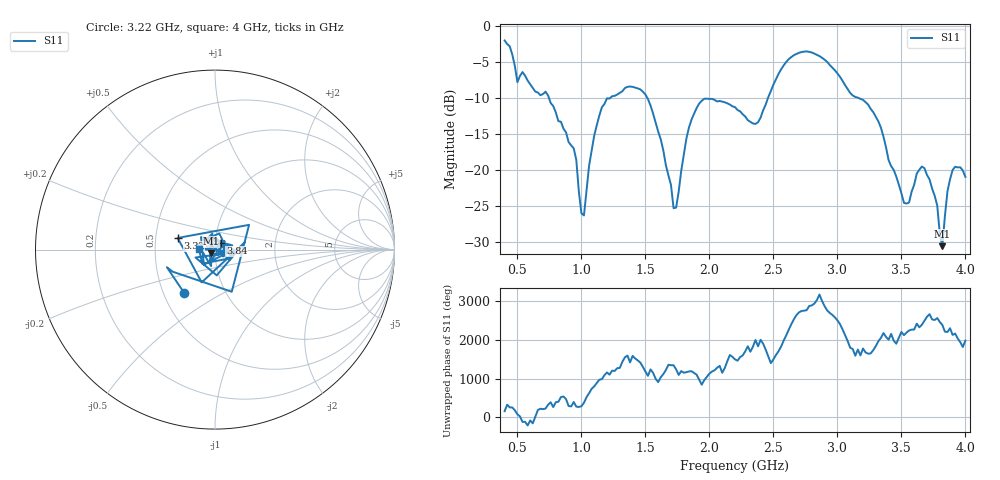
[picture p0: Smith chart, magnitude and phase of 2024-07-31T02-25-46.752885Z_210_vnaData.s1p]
!Created with skrf (http://scikit-rf.org).
# Hz S RI R 50.0
!freq ReS11 ImS11
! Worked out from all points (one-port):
!   181 points, 400 MHz to 4 GHz, reference 50 ohm
!   lowest |S11| = -30.6 dB at 3.82 GHz (marker M1), VSWR 1.06, Z = 47.8 - j1.92 ohm
!   |S11| at or under -10 dB: 747 MHz to 1.223 GHz (476.4 MHz wide, 48.4 % of centre); 1.516 GHz to 2.457 GHz (941.3 MHz wide, 47.4 % of centre); 3.168 GHz to end of sweep
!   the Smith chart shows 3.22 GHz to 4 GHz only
!   S11 on the Smith chart (normalised r, x): 3.22 GHz: 0.64, -0.34; 3.32 GHz: 0.65, +0.09; 3.84 GHz: 1.06, +0.08; 4 GHz: 0.84, +0.00
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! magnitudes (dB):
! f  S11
! 400 MHz  -2.0
! 500 MHz  -7.8
! 720 MHz  -9.1
! 860 MHz  -14.2
! 940 MHz  -17.0
! 1.02 GHz  -26.3
! 1.06 GHz  -19.4
! 1.14 GHz  -12.4
! 1.3 GHz  -9.3
! 1.5 GHz  -9.5
! 1.62 GHz  -15.7
! 1.72 GHz  -25.3
! 1.76 GHz  -23.0
! 1.84 GHz  -14.1
! 1.92 GHz  -10.8
! 2.2 GHz  -11.3
! 2.38 GHz  -13.4
! 2.66 GHz  -4.0
! 3.1 GHz  -9.3
! 3.22 GHz  -10.6
! 3.32 GHz  -13.2
! 3.56 GHz  -24.5
! 3.68 GHz  -19.7
! 3.78 GHz  -24.9
! 3.82 GHz  -30.6
! 3.84 GHz  -26.4
! 3.9 GHz  -20.0
! 4 GHz  -20.9
